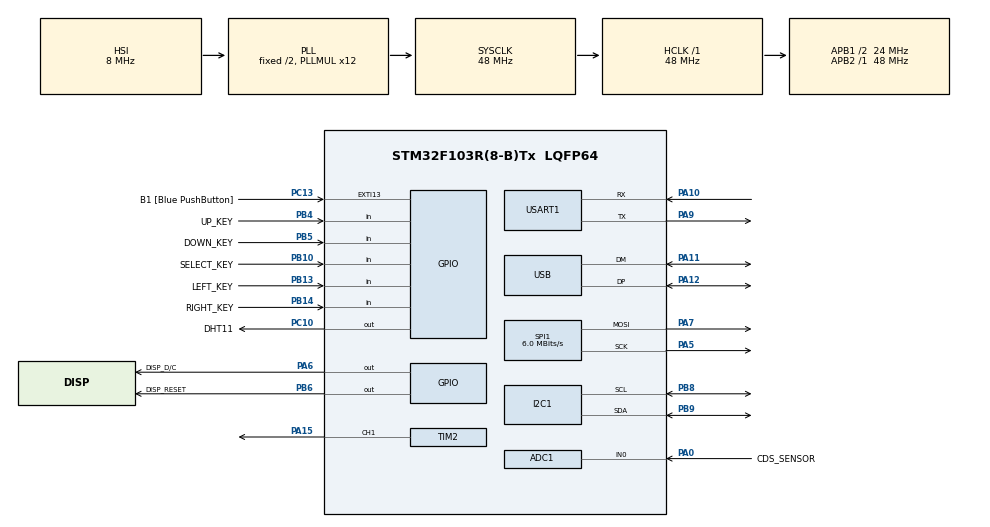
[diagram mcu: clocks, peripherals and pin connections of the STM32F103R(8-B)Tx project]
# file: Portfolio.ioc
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ADC1.Channel-1\#ChannelRegularConversion=ADC_CHANNEL_0
ADC1.NbrOfConversionFlag=1
ADC1.Rank-1\#ChannelRegularConversion=1
ADC1.SamplingTime-1\#ChannelRegularConversion=ADC_SAMPLETIME_239CYCLES_5
ADC1.master=1
I2C1.OwnAddress=0
Mcu.Family=STM32F1
Mcu.Name=STM32F103R(8-B)Tx
Mcu.Package=LQFP64
NVIC.EXTI15_10_IRQn=true\:0\:0\:false\:false\:true\:true\:true\:true
NVIC.I2C1_ER_IRQn=true\:0\:0\:false\:false\:true\:true\:true\:true
NVIC.I2C1_EV_IRQn=true\:0\:0\:false\:false\:true\:true\:true\:true
NVIC.PriorityGroup=NVIC_PRIORITYGROUP_4
NVIC.SPI1_IRQn=true\:2\:0\:true\:false\:true\:true\:true\:true
NVIC.TIM1_UP_IRQn=true\:1\:0\:true\:false\:true\:true\:true\:true
NVIC.USART1_IRQn=true\:0\:0\:false\:false\:true\:true\:true\:true
NVIC.USB_LP_CAN1_RX0_IRQn=true\:0\:0\:false\:false\:true\:false\:true\:true
PA0-WKUP.GPIO_Label=CDS_SENSOR
PA0-WKUP.Signal=ADCx_IN0
PA10.Mode=Asynchronous
PA10.Signal=USART1_RX
PA11.Mode=Device
PA11.Signal=USB_DM
PA12.Mode=Device
PA12.Signal=USB_DP
PA13.GPIO_Label=TMS
PA13.Mode=Serial_Wire
PA13.Signal=SYS_JTMS-SWDIO
PA14.GPIO_Label=TCK
PA14.Mode=Serial_Wire
PA14.Signal=SYS_JTCK-SWCLK
PA15.Signal=S_TIM2_CH1_ETR
PA2.GPIO_Label=USART_TX
PA2.GPIO_Mode=GPIO_MODE_AF_PP
PA2.GPIO_PuPd=GPIO_NOPULL
PA2.GPIO_Speed=GPIO_SPEED_FREQ_LOW
PA2.Signal=USART2_TX
PA3.Signal=USART2_RX
PA5.Mode=TX_Only_Simplex_Unidirect_Master
PA5.Signal=SPI1_SCK
PA6.GPIO_Label=DISP_D/C
PA6.GPIO_Speed=GPIO_SPEED_FREQ_HIGH
PA6.Signal=GPIO_Output
PA7.Mode=TX_Only_Simplex_Unidirect_Master
PA7.Signal=SPI1_MOSI
PA9.Mode=Asynchronous
PA9.Signal=USART1_TX
PB10.GPIO_Label=SELECT_KEY
PB10.GPIO_PuPd=GPIO_PULLUP
PB10.Signal=GPIO_Input
PB13.GPIO_Label=LEFT_KEY
PB13.GPIO_PuPd=GPIO_PULLUP
PB13.Signal=GPIO_Input
PB14.GPIO_Label=RIGHT_KEY
PB14.GPIO_PuPd=GPIO_PULLUP
PB14.Signal=GPIO_Input
PB3.GPIO_Label=SWO
PB3.Signal=SYS_JTDO-TRACESWO
PB4.GPIO_Label=UP_KEY
PB4.GPIO_PuPd=GPIO_PULLUP
PB4.Signal=GPIO_Input
PB5.GPIO_Label=DOWN_KEY
PB5.GPIO_PuPd=GPIO_PULLUP
PB5.Signal=GPIO_Input
PB6.GPIO_Label=DISP_RESET
PB6.GPIO_PuPd=GPIO_PULLUP
PB6.GPIO_Speed=GPIO_SPEED_FREQ_HIGH
PB6.PinState=GPIO_PIN_SET
PB6.Signal=GPIO_Output
PB8.Mode=I2C
PB8.Signal=I2C1_SCL
PB9.Mode=I2C
PB9.Signal=I2C1_SDA
PC10.GPIO_Label=DHT11
PC10.GPIO_PuPd=GPIO_PULLUP
PC10.GPIO_Speed=GPIO_SPEED_FREQ_HIGH
PC10.PinState=GPIO_PIN_SET
PC10.Signal=GPIO_Output
PC13-TAMPER-RTC.GPIO_Label=B1 [Blue PushButton]
PC13-TAMPER-RTC.GPIO_ModeDefaultEXTI=GPIO_MODE_IT_FALLING
PC13-TAMPER-RTC.GPIO_PuPd=GPIO_NOPULL
PC13-TAMPER-RTC.Signal=GPXTI13
PC14-OSC32_IN.Signal=RCC_OSC32_IN
PC15-OSC32_OUT.Signal=RCC_OSC32_OUT
PD0-OSC_IN.Signal=RCC_OSC_IN
PD1-OSC_OUT.Signal=RCC_OSC_OUT
ProjectManager.HeapSize=0x200
ProjectManager.StackSize=0x400
ProjectManager.TargetToolchain=STM32CubeIDE
RCC.ADCPresc=RCC_ADCPCLK2_DIV8
RCC.AHBFreq_Value=48000000
RCC.APB1CLKDivider=RCC_HCLK_DIV2
RCC.APB1Freq_Value=24000000
RCC.APB1TimFreq_Value=48000000
RCC.APB2Freq_Value=48000000
RCC.APB2TimFreq_Value=48000000
RCC.HCLKFreq_Value=48000000
RCC.PLLMUL=RCC_PLL_MUL12
RCC.PLLSource=RCC_PLLSOURCE_HSI_DIV2
RCC.PLLSourceVirtual=RCC_PLLSOURCE_HSI_DIV2
RCC.SYSCLKFreq_VALUE=48000000
RCC.SYSCLKSource=RCC_SYSCLKSOURCE_PLLCLK
RCC.USBFreq_Value=48000000
RTC.Format=RTC_FORMAT_BIN
SH.ADCx_IN0.0=ADC1_IN0,IN0
SH.S_TIM2_CH1_ETR.0=TIM2_CH1,PWM Generation1 CH1
SPI1.BaudRatePrescaler=SPI_BAUDRATEPRESCALER_8
SPI1.CalculateBaudRate=6.0 MBits/s
SPI1.Direction=SPI_DIRECTION_2LINES
SPI1.Mode=SPI_MODE_MASTER
SPI1.VirtualType=VM_MASTER
TIM1.Period=1000-1
TIM1.Prescaler=64-1
TIM2.AutoReloadPreload=TIM_AUTORELOAD_PRELOAD_ENABLE
TIM2.Channel-PWM\ Generation1\ CH1=TIM_CHANNEL_1
TIM2.Period=999
TIM2.Prescaler=64-1
TIM2.Pulse-PWM\ Generation1\ CH1=999
USART1.VirtualMode=VM_ASYNC
USB_DEVICE.CLASS_NAME_FS=CDC
USB_DEVICE.MANUFACTURER_STRING=JHJI
USB_DEVICE.VID=521
USB_DEVICE.VirtualMode=Cdc
USB_DEVICE.VirtualModeFS=Cdc_FS
VP_RTC_VS_RTC_Activate.Mode=RTC_Enabled
VP_TIM1_VS_ClockSourceINT.Mode=Internal
VP_TIM2_VS_ClockSourceINT.Mode=Internal
VP_USB_DEVICE_VS_USB_DEVICE_CDC_FS.Mode=CDC_FS
board=NUCLEO-F103RB

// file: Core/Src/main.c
/* USER CODE BEGIN Header */
/**
  ******************************************************************************
  * @file           : main.c
  * @brief          : Main program body
  ******************************************************************************
  * @attention
  *
  * Copyright (c) 2025 STMicroelectronics.
  * All rights reserved.
  *
  * This software is licensed under terms that can be found in the LICENSE file
  * in the root directory of this software component.
  * If no LICENSE file comes with this software, it is provided AS-IS.
  *
  ******************************************************************************
  */
/* USER CODE END Header */
#include "main.h"
#include "usb_device.h"

/* USER CODE BEGIN Includes */
#include "headers.h"
/* USER CODE END Includes */

ADC_HandleTypeDef hadc1;

I2C_HandleTypeDef hi2c1;

RTC_HandleTypeDef hrtc;

SPI_HandleTypeDef hspi1;

TIM_HandleTypeDef htim1;
TIM_HandleTypeDef htim2;

UART_HandleTypeDef huart1;

/* USER CODE BEGIN PV */
RTC_TimeTypeDef sTime;
RTC_DateTypeDef sDate;
RTC_TimeTypeDef sTime_backup;
RTC_DateTypeDef sDate_backup;
Ring_Buffer_t g_wifi_buf;
Wifi_Info_t g_wifi_info[MAX_WIFI_NUM];
Wifi_Info_t g_selected_wifi_info;
Time_t Time;
System_Status_t g_system_status;
Reserve_t g_reservation_info[6];
uint8_t g_humidity=0, g_temperature=0;
/* USER CODE END PV */

void SystemClock_Config(void);
static void MX_GPIO_Init(void);
static void MX_USART1_UART_Init(void);
static void MX_SPI1_Init(void);
static void MX_TIM1_Init(void);
static void MX_ADC1_Init(void);
static void MX_TIM2_Init(void);
static void MX_RTC_Init(void);
static void MX_I2C1_Init(void);
/* USER CODE BEGIN PFP */
void init_peripheral(void);
/* USER CODE END PFP */

int main(void)
{

  /* MCU Configuration--------------------------------------------------------*/

  /* Reset of all peripherals, Initializes the Flash interface and the Systick. */
  HAL_Init();

  /* Configure the system clock */
  SystemClock_Config();

  /* Initialize all configured peripherals */
  MX_GPIO_Init();
  MX_USART1_UART_Init();
  MX_SPI1_Init();
  MX_TIM1_Init();
  MX_ADC1_Init();
  MX_TIM2_Init();
  MX_RTC_Init();
  MX_I2C1_Init();
  /* USER CODE BEGIN 2 */
  init_dwt();
  init_system_status();
  MX_USB_DEVICE_Init();
  init_peripheral();
  init_wifi();
  init_ssd1309();
  /* USER CODE END 2 */
  /* Infinite loop */
  /* USER CODE BEGIN WHILE */
  while (1)
  {
	keypad_process();
	wifi_process();
	display_process();
	temp_humid_process();
	time_process();
	radio_process();
	reservation_process();
    /* USER CODE END WHILE */

  }
}

void SystemClock_Config(void)
{
  RCC_OscInitTypeDef RCC_OscInitStruct = {0};
  RCC_ClkInitTypeDef RCC_ClkInitStruct = {0};
  RCC_PeriphCLKInitTypeDef PeriphClkInit = {0};

  /** Initializes the RCC Oscillators according to the specified parameters
  * in the RCC_OscInitTypeDef structure.
  */
  RCC_OscInitStruct.OscillatorType = RCC_OSCILLATORTYPE_HSI|RCC_OSCILLATORTYPE_LSI;
  RCC_OscInitStruct.HSIState = RCC_HSI_ON;
  RCC_OscInitStruct.HSICalibrationValue = RCC_HSICALIBRATION_DEFAULT;
  RCC_OscInitStruct.LSIState = RCC_LSI_ON;
  RCC_OscInitStruct.PLL.PLLState = RCC_PLL_ON;
  RCC_OscInitStruct.PLL.PLLSource = RCC_PLLSOURCE_HSI_DIV2;
  RCC_OscInitStruct.PLL.PLLMUL = RCC_PLL_MUL12;
  if (HAL_RCC_OscConfig(&RCC_OscInitStruct) != HAL_OK)
  {
    Error_Handler();
  }

  /** Initializes the CPU, AHB and APB buses clocks
  */
  RCC_ClkInitStruct.ClockType = RCC_CLOCKTYPE_HCLK|RCC_CLOCKTYPE_SYSCLK
                              |RCC_CLOCKTYPE_PCLK1|RCC_CLOCKTYPE_PCLK2;
  RCC_ClkInitStruct.SYSCLKSource = RCC_SYSCLKSOURCE_PLLCLK;
  RCC_ClkInitStruct.AHBCLKDivider = RCC_SYSCLK_DIV1;
  RCC_ClkInitStruct.APB1CLKDivider = RCC_HCLK_DIV2;
  RCC_ClkInitStruct.APB2CLKDivider = RCC_HCLK_DIV1;

  if (HAL_RCC_ClockConfig(&RCC_ClkInitStruct, FLASH_LATENCY_1) != HAL_OK)
  {
    Error_Handler();
  }
  PeriphClkInit.PeriphClockSelection = RCC_PERIPHCLK_RTC|RCC_PERIPHCLK_ADC
                              |RCC_PERIPHCLK_USB;
  PeriphClkInit.RTCClockSelection = RCC_RTCCLKSOURCE_LSI;
  PeriphClkInit.AdcClockSelection = RCC_ADCPCLK2_DIV8;
  PeriphClkInit.UsbClockSelection = RCC_USBCLKSOURCE_PLL;
  if (HAL_RCCEx_PeriphCLKConfig(&PeriphClkInit) != HAL_OK)
  {
    Error_Handler();
  }
}

static void MX_ADC1_Init(void)
{

  ADC_ChannelConfTypeDef sConfig = {0};

  /** Common config
  */
  hadc1.Instance = ADC1;
  hadc1.Init.ScanConvMode = ADC_SCAN_DISABLE;
  hadc1.Init.ContinuousConvMode = DISABLE;
  hadc1.Init.DiscontinuousConvMode = DISABLE;
  hadc1.Init.ExternalTrigConv = ADC_SOFTWARE_START;
  hadc1.Init.DataAlign = ADC_DATAALIGN_RIGHT;
  hadc1.Init.NbrOfConversion = 1;
  if (HAL_ADC_Init(&hadc1) != HAL_OK)
  {
    Error_Handler();
  }

  /** Configure Regular Channel
  */
  sConfig.Channel = ADC_CHANNEL_0;
  sConfig.Rank = ADC_REGULAR_RANK_1;
  sConfig.SamplingTime = ADC_SAMPLETIME_239CYCLES_5;
  if (HAL_ADC_ConfigChannel(&hadc1, &sConfig) != HAL_OK)
  {
    Error_Handler();
  }

}

static void MX_I2C1_Init(void)
{

  hi2c1.Instance = I2C1;
  hi2c1.Init.ClockSpeed = 100000;
  hi2c1.Init.DutyCycle = I2C_DUTYCYCLE_2;
  hi2c1.Init.OwnAddress1 = 0;
  hi2c1.Init.AddressingMode = I2C_ADDRESSINGMODE_7BIT;
  hi2c1.Init.DualAddressMode = I2C_DUALADDRESS_DISABLE;
  hi2c1.Init.OwnAddress2 = 0;
  hi2c1.Init.GeneralCallMode = I2C_GENERALCALL_DISABLE;
  hi2c1.Init.NoStretchMode = I2C_NOSTRETCH_DISABLE;
  if (HAL_I2C_Init(&hi2c1) != HAL_OK)
  {
    Error_Handler();
  }

}

static void MX_RTC_Init(void)
{

  /** Initialize RTC Only
  */
  hrtc.Instance = RTC;
  hrtc.Init.AsynchPrediv = RTC_AUTO_1_SECOND;
  hrtc.Init.OutPut = RTC_OUTPUTSOURCE_ALARM;
  if (HAL_RTC_Init(&hrtc) != HAL_OK)
  {
    Error_Handler();
  }

}

static void MX_SPI1_Init(void)
{

  /* SPI1 parameter configuration*/
  hspi1.Instance = SPI1;
  hspi1.Init.Mode = SPI_MODE_MASTER;
  hspi1.Init.Direction = SPI_DIRECTION_2LINES;
  hspi1.Init.DataSize = SPI_DATASIZE_8BIT;
  hspi1.Init.CLKPolarity = SPI_POLARITY_LOW;
  hspi1.Init.CLKPhase = SPI_PHASE_1EDGE;
  hspi1.Init.NSS = SPI_NSS_SOFT;
  hspi1.Init.BaudRatePrescaler = SPI_BAUDRATEPRESCALER_8;
  hspi1.Init.FirstBit = SPI_FIRSTBIT_MSB;
  hspi1.Init.TIMode = SPI_TIMODE_DISABLE;
  hspi1.Init.CRCCalculation = SPI_CRCCALCULATION_DISABLE;
  hspi1.Init.CRCPolynomial = 10;
  if (HAL_SPI_Init(&hspi1) != HAL_OK)
  {
    Error_Handler();
  }

}

static void MX_TIM1_Init(void)
{

  TIM_ClockConfigTypeDef sClockSourceConfig = {0};
  TIM_MasterConfigTypeDef sMasterConfig = {0};

  htim1.Instance = TIM1;
  htim1.Init.Prescaler = 64-1;
  htim1.Init.CounterMode = TIM_COUNTERMODE_UP;
  htim1.Init.Period = 1000-1;
  htim1.Init.ClockDivision = TIM_CLOCKDIVISION_DIV1;
  htim1.Init.RepetitionCounter = 0;
  htim1.Init.AutoReloadPreload = TIM_AUTORELOAD_PRELOAD_DISABLE;
  if (HAL_TIM_Base_Init(&htim1) != HAL_OK)
  {
    Error_Handler();
  }
  sClockSourceConfig.ClockSource = TIM_CLOCKSOURCE_INTERNAL;
  if (HAL_TIM_ConfigClockSource(&htim1, &sClockSourceConfig) != HAL_OK)
  {
    Error_Handler();
  }
  sMasterConfig.MasterOutputTrigger = TIM_TRGO_RESET;
  sMasterConfig.MasterSlaveMode = TIM_MASTERSLAVEMODE_DISABLE;
  if (HAL_TIMEx_MasterConfigSynchronization(&htim1, &sMasterConfig) != HAL_OK)
  {
    Error_Handler();
  }

}

static void MX_TIM2_Init(void)
{

  TIM_ClockConfigTypeDef sClockSourceConfig = {0};
  TIM_MasterConfigTypeDef sMasterConfig = {0};
  TIM_OC_InitTypeDef sConfigOC = {0};

  htim2.Instance = TIM2;
  htim2.Init.Prescaler = 64-1;
  htim2.Init.CounterMode = TIM_COUNTERMODE_UP;
  htim2.Init.Period = 999;
  htim2.Init.ClockDivision = TIM_CLOCKDIVISION_DIV1;
  htim2.Init.AutoReloadPreload = TIM_AUTORELOAD_PRELOAD_ENABLE;
  if (HAL_TIM_Base_Init(&htim2) != HAL_OK)
  {
    Error_Handler();
  }
  sClockSourceConfig.ClockSource = TIM_CLOCKSOURCE_INTERNAL;
  if (HAL_TIM_ConfigClockSource(&htim2, &sClockSourceConfig) != HAL_OK)
  {
    Error_Handler();
  }
  if (HAL_TIM_PWM_Init(&htim2) != HAL_OK)
  {
    Error_Handler();
  }
  sMasterConfig.MasterOutputTrigger = TIM_TRGO_RESET;
  sMasterConfig.MasterSlaveMode = TIM_MASTERSLAVEMODE_DISABLE;
  if (HAL_TIMEx_MasterConfigSynchronization(&htim2, &sMasterConfig) != HAL_OK)
  {
    Error_Handler();
  }
  sConfigOC.OCMode = TIM_OCMODE_PWM1;
  sConfigOC.Pulse = 999;
  sConfigOC.OCPolarity = TIM_OCPOLARITY_HIGH;
  sConfigOC.OCFastMode = TIM_OCFAST_DISABLE;
  if (HAL_TIM_PWM_ConfigChannel(&htim2, &sConfigOC, TIM_CHANNEL_1) != HAL_OK)
  {
    Error_Handler();
  }
  HAL_TIM_MspPostInit(&htim2);

}

static void MX_USART1_UART_Init(void)
{

  huart1.Instance = USART1;
  huart1.Init.BaudRate = 115200;
  huart1.Init.WordLength = UART_WORDLENGTH_8B;
  huart1.Init.StopBits = UART_STOPBITS_1;
  huart1.Init.Parity = UART_PARITY_NONE;
  huart1.Init.Mode = UART_MODE_TX_RX;
  huart1.Init.HwFlowCtl = UART_HWCONTROL_NONE;
  huart1.Init.OverSampling = UART_OVERSAMPLING_16;
  if (HAL_UART_Init(&huart1) != HAL_OK)
  {
    Error_Handler();
  }
  /* USER CODE BEGIN USART1_Init 2 */
  HAL_Delay(1);
  HAL_UART_Receive_IT(&huart1, &g_wifi_buf.rx_data, 1);
  HAL_Delay(1);
  /* USER CODE END USART1_Init 2 */

}

static void MX_GPIO_Init(void)
{
  GPIO_InitTypeDef GPIO_InitStruct = {0};

  /* GPIO Ports Clock Enable */
  __HAL_RCC_GPIOC_CLK_ENABLE();
  __HAL_RCC_GPIOD_CLK_ENABLE();
  __HAL_RCC_GPIOA_CLK_ENABLE();
  __HAL_RCC_GPIOB_CLK_ENABLE();

  /*Configure GPIO pin Output Level */
  HAL_GPIO_WritePin(DISP_D_C_GPIO_Port, DISP_D_C_Pin, GPIO_PIN_RESET);

  /*Configure GPIO pin Output Level */
  HAL_GPIO_WritePin(DHT11_GPIO_Port, DHT11_Pin, GPIO_PIN_SET);

  /*Configure GPIO pin Output Level */
  HAL_GPIO_WritePin(DISP_RESET_GPIO_Port, DISP_RESET_Pin, GPIO_PIN_SET);

  /*Configure GPIO pin : B1_Pin */
  GPIO_InitStruct.Pin = B1_Pin;
  GPIO_InitStruct.Mode = GPIO_MODE_IT_FALLING;
  GPIO_InitStruct.Pull = GPIO_NOPULL;
  HAL_GPIO_Init(B1_GPIO_Port, &GPIO_InitStruct);

  /*Configure GPIO pin : USART_TX_Pin */
  GPIO_InitStruct.Pin = USART_TX_Pin;
  GPIO_InitStruct.Mode = GPIO_MODE_AF_PP;
  GPIO_InitStruct.Speed = GPIO_SPEED_FREQ_LOW;
  HAL_GPIO_Init(USART_TX_GPIO_Port, &GPIO_InitStruct);

  /*Configure GPIO pin : PA3 */
  GPIO_InitStruct.Pin = GPIO_PIN_3;
  GPIO_InitStruct.Mode = GPIO_MODE_INPUT;
  GPIO_InitStruct.Pull = GPIO_NOPULL;
  HAL_GPIO_Init(GPIOA, &GPIO_InitStruct);

  /*Configure GPIO pin : DISP_D_C_Pin */
  GPIO_InitStruct.Pin = DISP_D_C_Pin;
  GPIO_InitStruct.Mode = GPIO_MODE_OUTPUT_PP;
  GPIO_InitStruct.Pull = GPIO_NOPULL;
  GPIO_InitStruct.Speed = GPIO_SPEED_FREQ_HIGH;
  HAL_GPIO_Init(DISP_D_C_GPIO_Port, &GPIO_InitStruct);

  /*Configure GPIO pins : SELECT_KEY_Pin LEFT_KEY_Pin RIGHT_KEY_Pin UP_KEY_Pin
                           DOWN_KEY_Pin */
  GPIO_InitStruct.Pin = SELECT_KEY_Pin|LEFT_KEY_Pin|RIGHT_KEY_Pin|UP_KEY_Pin
                          |DOWN_KEY_Pin;
  GPIO_InitStruct.Mode = GPIO_MODE_INPUT;
  GPIO_InitStruct.Pull = GPIO_PULLUP;
  HAL_GPIO_Init(GPIOB, &GPIO_InitStruct);

  /*Configure GPIO pin : DHT11_Pin */
  GPIO_InitStruct.Pin = DHT11_Pin;
  GPIO_InitStruct.Mode = GPIO_MODE_OUTPUT_PP;
  GPIO_InitStruct.Pull = GPIO_PULLUP;
  GPIO_InitStruct.Speed = GPIO_SPEED_FREQ_HIGH;
  HAL_GPIO_Init(DHT11_GPIO_Port, &GPIO_InitStruct);

  /*Configure GPIO pin : DISP_RESET_Pin */
  GPIO_InitStruct.Pin = DISP_RESET_Pin;
  GPIO_InitStruct.Mode = GPIO_MODE_OUTPUT_PP;
  GPIO_InitStruct.Pull = GPIO_PULLUP;
  GPIO_InitStruct.Speed = GPIO_SPEED_FREQ_HIGH;
  HAL_GPIO_Init(DISP_RESET_GPIO_Port, &GPIO_InitStruct);

  /* EXTI interrupt init*/
  HAL_NVIC_SetPriority(EXTI15_10_IRQn, 0, 0);
  HAL_NVIC_EnableIRQ(EXTI15_10_IRQn);

}

/* USER CODE BEGIN 4 */
void init_peripheral(void)
{
	  HAL_ADCEx_Calibration_Start(&hadc1);
	  HAL_TIM_Base_Start_IT(&htim1);
	  SET_DUTY(499);
	  HAL_TIM_PWM_Start(&htim2, TIM_CHANNEL_1);
}
/* USER CODE END 4 */

void Error_Handler(void)
{
  __disable_irq();
  while (1)
  {
  }
}
